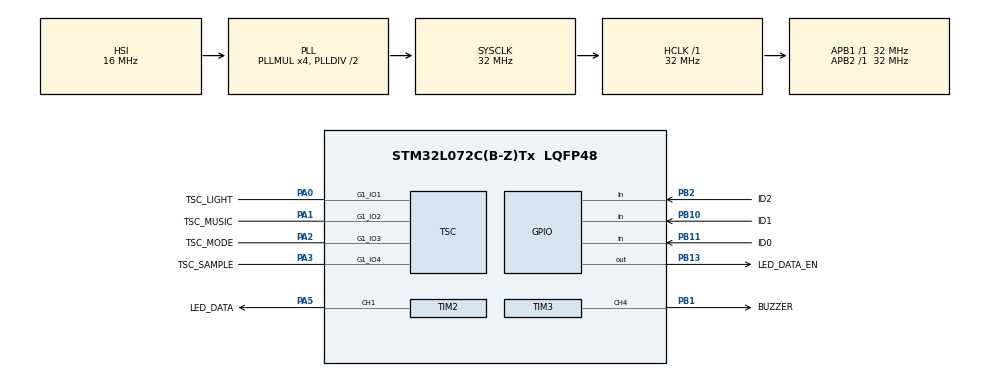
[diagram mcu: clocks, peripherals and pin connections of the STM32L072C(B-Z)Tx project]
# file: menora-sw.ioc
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Dma.Request0=TIM3_CH4/UP
Dma.Request1=TIM2_CH1
Dma.TIM2_CH1.1.Direction=DMA_MEMORY_TO_PERIPH
Dma.TIM2_CH1.1.Instance=DMA1_Channel5
Dma.TIM2_CH1.1.MemDataAlignment=DMA_MDATAALIGN_WORD
Dma.TIM2_CH1.1.MemInc=DMA_MINC_ENABLE
Dma.TIM2_CH1.1.Mode=DMA_NORMAL
Dma.TIM2_CH1.1.PeriphDataAlignment=DMA_PDATAALIGN_WORD
Dma.TIM2_CH1.1.PeriphInc=DMA_PINC_DISABLE
Dma.TIM2_CH1.1.Priority=DMA_PRIORITY_LOW
Dma.TIM3_CH4/UP.0.Direction=DMA_PERIPH_TO_MEMORY
Dma.TIM3_CH4/UP.0.Instance=DMA1_Channel3
Dma.TIM3_CH4/UP.0.MemDataAlignment=DMA_MDATAALIGN_HALFWORD
Dma.TIM3_CH4/UP.0.MemInc=DMA_MINC_ENABLE
Dma.TIM3_CH4/UP.0.Mode=DMA_NORMAL
Dma.TIM3_CH4/UP.0.PeriphDataAlignment=DMA_PDATAALIGN_HALFWORD
Dma.TIM3_CH4/UP.0.PeriphInc=DMA_PINC_DISABLE
Dma.TIM3_CH4/UP.0.Priority=DMA_PRIORITY_LOW
Mcu.Family=STM32L0
Mcu.Name=STM32L072C(B-Z)Tx
Mcu.Package=LQFP48
NVIC.DMA1_Channel2_3_IRQn=true\:0\:0\:false\:false\:true\:false\:true\:true
NVIC.DMA1_Channel4_5_6_7_IRQn=true\:0\:0\:false\:false\:true\:false\:true\:true
NVIC.TIM21_IRQn=true\:0\:0\:false\:false\:true\:true\:true\:true
NVIC.TIM2_IRQn=true\:0\:0\:false\:false\:true\:true\:true\:true
NVIC.TIM3_IRQn=true\:0\:0\:false\:false\:true\:true\:true\:true
NVIC.TSC_IRQn=true\:0\:0\:false\:false\:true\:true\:true\:true
PA0.GPIO_Label=TSC_LIGHT
PA0.Mode=G1_IO1-Channel
PA0.Signal=TSC_G1_IO1
PA1.GPIO_Label=TSC_MUSIC
PA1.Mode=G1_IO2-Channel
PA1.Signal=TSC_G1_IO2
PA13.Mode=Serial_Wire
PA13.Signal=SYS_SWDIO
PA14.Mode=Serial_Wire
PA14.Signal=SYS_SWCLK
PA2.GPIO_Label=TSC_MODE
PA2.Mode=G1_IO3-Channel
PA2.Signal=TSC_G1_IO3
PA3.GPIO_Label=TSC_SAMPLE
PA3.Mode=G1_IO4-Sampling
PA3.Signal=TSC_G1_IO4
PA5.GPIO_Label=LED_DATA
PA5.Signal=S_TIM2_CH1
PB1.GPIO_Label=BUZZER
PB1.Signal=S_TIM3_CH4
PB10.GPIO_Label=ID1
PB10.GPIO_PuPd=GPIO_PULLDOWN
PB10.Signal=GPIO_Input
PB11.GPIO_Label=ID0
PB11.GPIO_PuPd=GPIO_PULLDOWN
PB11.Signal=GPIO_Input
PB13.GPIO_Label=LED_DATA_EN
PB13.Signal=GPIO_Output
PB2.GPIO_Label=ID2
PB2.GPIO_PuPd=GPIO_PULLDOWN
PB2.Signal=GPIO_Input
ProjectManager.HeapSize=0x200
ProjectManager.StackSize=0x400
ProjectManager.TargetToolchain=CMake
RCC.AHBFreq_Value=32000000
RCC.APB1Freq_Value=32000000
RCC.APB1TimFreq_Value=32000000
RCC.APB2Freq_Value=32000000
RCC.APB2TimFreq_Value=32000000
RCC.HCLKFreq_Value=32000000
RCC.HSE_VALUE=8000000
RCC.HSI16_VALUE=16000000
RCC.HSI48_VALUE=48000000
RCC.HSI_VALUE=16000000
RCC.LSE_VALUE=32768
RCC.MSIClockRange=RCC_MSIRANGE_6
RCC.MSI_VALUE=4194000
RCC.PLLMUL=RCC_PLLMUL_4
RCC.SYSCLKFreq_VALUE=32000000
RCC.SYSCLKSource=RCC_SYSCLKSOURCE_PLLCLK
RCC.VCOOutputFreq_Value=64000000
SH.S_TIM2_CH1.0=TIM2_CH1,PWM Generation1 CH1
SH.S_TIM3_CH4.0=TIM3_CH4,PWM Generation4 CH4
TIM2.Channel-PWM\ Generation1\ CH1=TIM_CHANNEL_1
TIM2.Period=39
TIM21.Period=31999
TIM3.Channel-PWM\ Generation4\ CH4=TIM_CHANNEL_4
TIM3.Period=31999
TSC.ChannelIOs-G1_IO1=TSC_GROUP1_IO1
TSC.ChannelIOs-G1_IO1-Channel=TSC_GROUP1_IO1
TSC.ChannelIOs-G1_IO2=TSC_GROUP1_IO2
TSC.ChannelIOs-G1_IO2-Channel=TSC_GROUP1_IO2
TSC.ChannelIOs-G1_IO3=TSC_GROUP1_IO3
TSC.ChannelIOs-G1_IO3-Channel=TSC_GROUP1_IO3
TSC.SamplingIOs-G1_IO4=TSC_GROUP1_IO4
TSC.SamplingIOs-G1_IO4-Sampling=TSC_GROUP1_IO4
VP_TIM21_VS_ClockSourceINT.Mode=Internal
VP_TIM3_VS_ClockSourceINT.Mode=Internal
board=custom

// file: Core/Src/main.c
/* USER CODE BEGIN Header */
/**
  ******************************************************************************
  * @file           : main.c
  * @brief          : Main program body
  ******************************************************************************
  * @attention
  *
  * Copyright (c) 2026 STMicroelectronics.
  * All rights reserved.
  *
  * This software is licensed under terms that can be found in the LICENSE file
  * in the root directory of this software component.
  * If no LICENSE file comes with this software, it is provided AS-IS.
  *
  ******************************************************************************
  */
/* USER CODE END Header */
#include "main.h"

/* USER CODE BEGIN Includes */
#include "menora.h"

/* USER CODE END Includes */

TIM_HandleTypeDef htim2;
TIM_HandleTypeDef htim3;
TIM_HandleTypeDef htim21;
DMA_HandleTypeDef hdma_tim2_ch1;
DMA_HandleTypeDef hdma_tim3_ch4_up;

TSC_HandleTypeDef htsc;

void SystemClock_Config(void);
static void MX_GPIO_Init(void);
static void MX_DMA_Init(void);
static void MX_TIM3_Init(void);
static void MX_TSC_Init(void);
static void MX_TIM2_Init(void);
static void MX_TIM21_Init(void);

int main(void)
{

  /* USER CODE BEGIN 1 */
  MENORA_INIT_CONFIG_st menora_cfg = {
      .scheduler_tim = &htim21,
      .led_tim = &htim2,
      .led_tim_ch = TIM_CHANNEL_1,
      .buzzer_tim = &htim3,
      .led_data_port = LED_DATA_GPIO_Port,
      .led_data_pin = LED_DATA_Pin,
      .led_en_port = LED_DATA_EN_GPIO_Port,
      .led_en_pin = LED_DATA_EN_Pin,
      .id0_port = ID0_GPIO_Port,
      .id0_pin = ID0_Pin,
      .id1_port = ID1_GPIO_Port,
      .id1_pin = ID1_Pin,
      .id2_port = ID2_GPIO_Port,
      .id2_pin = ID2_Pin,
      .light_btn_port = TSC_LIGHT_GPIO_Port,
      .light_btn_pin = TSC_LIGHT_Pin,
      .music_btn_port = TSC_MUSIC_GPIO_Port,
      .music_btn_pin = TSC_MUSIC_Pin,
      .mode_btn_port = TSC_MODE_GPIO_Port,
      .mode_btn_pin = TSC_MODE_Pin,
      .tsc = &htsc,
      .tsc_light_btn_channel_io = TSC_GROUP1_IO1,
      .tsc_music_btn_channel_io = TSC_GROUP1_IO2,
      .tsc_mode_btn_channel_io = TSC_GROUP1_IO3,
      .tsc_btn_group_index = TSC_GROUP1_IDX,
      .tsc_btn_sampling_io = TSC_GROUP1_IO4
  };
  /* USER CODE END 1 */

  /* MCU Configuration--------------------------------------------------------*/

  /* Reset of all peripherals, Initializes the Flash interface and the Systick. */
  HAL_Init();

  /* Configure the system clock */
  SystemClock_Config();

  /* Initialize all configured peripherals */
  MX_GPIO_Init();
  MX_DMA_Init();
  MX_TIM3_Init();
  MX_TSC_Init();
  MX_TIM2_Init();
  MX_TIM21_Init();
  /* USER CODE BEGIN 2 */
  MENORA_init(&menora_cfg);
  /* USER CODE END 2 */

  /* Infinite loop */
  while (1)
  {

    /* USER CODE BEGIN 3 */
    MENORA_process();
  }
  /* USER CODE END 3 */
}

void SystemClock_Config(void)
{
  RCC_OscInitTypeDef RCC_OscInitStruct = {0};
  RCC_ClkInitTypeDef RCC_ClkInitStruct = {0};

  /** Configure the main internal regulator output voltage
  */
  __HAL_PWR_VOLTAGESCALING_CONFIG(PWR_REGULATOR_VOLTAGE_SCALE1);

  /** Initializes the RCC Oscillators according to the specified parameters
  * in the RCC_OscInitTypeDef structure.
  */
  RCC_OscInitStruct.OscillatorType = RCC_OSCILLATORTYPE_HSI;
  RCC_OscInitStruct.HSIState = RCC_HSI_ON;
  RCC_OscInitStruct.HSICalibrationValue = RCC_HSICALIBRATION_DEFAULT;
  RCC_OscInitStruct.PLL.PLLState = RCC_PLL_ON;
  RCC_OscInitStruct.PLL.PLLSource = RCC_PLLSOURCE_HSI;
  RCC_OscInitStruct.PLL.PLLMUL = RCC_PLLMUL_4;
  RCC_OscInitStruct.PLL.PLLDIV = RCC_PLLDIV_2;
  if (HAL_RCC_OscConfig(&RCC_OscInitStruct) != HAL_OK)
  {
    Error_Handler();
  }

  /** Initializes the CPU, AHB and APB buses clocks
  */
  RCC_ClkInitStruct.ClockType = RCC_CLOCKTYPE_HCLK|RCC_CLOCKTYPE_SYSCLK
                              |RCC_CLOCKTYPE_PCLK1|RCC_CLOCKTYPE_PCLK2;
  RCC_ClkInitStruct.SYSCLKSource = RCC_SYSCLKSOURCE_PLLCLK;
  RCC_ClkInitStruct.AHBCLKDivider = RCC_SYSCLK_DIV1;
  RCC_ClkInitStruct.APB1CLKDivider = RCC_HCLK_DIV1;
  RCC_ClkInitStruct.APB2CLKDivider = RCC_HCLK_DIV1;

  if (HAL_RCC_ClockConfig(&RCC_ClkInitStruct, FLASH_LATENCY_1) != HAL_OK)
  {
    Error_Handler();
  }
}

static void MX_TIM2_Init(void)
{

  TIM_MasterConfigTypeDef sMasterConfig = {0};
  TIM_OC_InitTypeDef sConfigOC = {0};

  htim2.Instance = TIM2;
  htim2.Init.Prescaler = 0;
  htim2.Init.CounterMode = TIM_COUNTERMODE_UP;
  htim2.Init.Period = 39;
  htim2.Init.ClockDivision = TIM_CLOCKDIVISION_DIV1;
  htim2.Init.AutoReloadPreload = TIM_AUTORELOAD_PRELOAD_DISABLE;
  if (HAL_TIM_PWM_Init(&htim2) != HAL_OK)
  {
    Error_Handler();
  }
  sMasterConfig.MasterOutputTrigger = TIM_TRGO_RESET;
  sMasterConfig.MasterSlaveMode = TIM_MASTERSLAVEMODE_DISABLE;
  if (HAL_TIMEx_MasterConfigSynchronization(&htim2, &sMasterConfig) != HAL_OK)
  {
    Error_Handler();
  }
  sConfigOC.OCMode = TIM_OCMODE_PWM1;
  sConfigOC.Pulse = 0;
  sConfigOC.OCPolarity = TIM_OCPOLARITY_HIGH;
  sConfigOC.OCFastMode = TIM_OCFAST_DISABLE;
  if (HAL_TIM_PWM_ConfigChannel(&htim2, &sConfigOC, TIM_CHANNEL_1) != HAL_OK)
  {
    Error_Handler();
  }
  HAL_TIM_MspPostInit(&htim2);

}

static void MX_TIM3_Init(void)
{

  TIM_ClockConfigTypeDef sClockSourceConfig = {0};
  TIM_MasterConfigTypeDef sMasterConfig = {0};
  TIM_OC_InitTypeDef sConfigOC = {0};

  htim3.Instance = TIM3;
  htim3.Init.Prescaler = 0;
  htim3.Init.CounterMode = TIM_COUNTERMODE_UP;
  htim3.Init.Period = 31999;
  htim3.Init.ClockDivision = TIM_CLOCKDIVISION_DIV1;
  htim3.Init.AutoReloadPreload = TIM_AUTORELOAD_PRELOAD_DISABLE;
  if (HAL_TIM_Base_Init(&htim3) != HAL_OK)
  {
    Error_Handler();
  }
  sClockSourceConfig.ClockSource = TIM_CLOCKSOURCE_INTERNAL;
  if (HAL_TIM_ConfigClockSource(&htim3, &sClockSourceConfig) != HAL_OK)
  {
    Error_Handler();
  }
  if (HAL_TIM_PWM_Init(&htim3) != HAL_OK)
  {
    Error_Handler();
  }
  sMasterConfig.MasterOutputTrigger = TIM_TRGO_RESET;
  sMasterConfig.MasterSlaveMode = TIM_MASTERSLAVEMODE_DISABLE;
  if (HAL_TIMEx_MasterConfigSynchronization(&htim3, &sMasterConfig) != HAL_OK)
  {
    Error_Handler();
  }
  sConfigOC.OCMode = TIM_OCMODE_PWM1;
  sConfigOC.Pulse = 0;
  sConfigOC.OCPolarity = TIM_OCPOLARITY_HIGH;
  sConfigOC.OCFastMode = TIM_OCFAST_DISABLE;
  if (HAL_TIM_PWM_ConfigChannel(&htim3, &sConfigOC, TIM_CHANNEL_4) != HAL_OK)
  {
    Error_Handler();
  }
  HAL_TIM_MspPostInit(&htim3);

}

static void MX_TIM21_Init(void)
{

  TIM_ClockConfigTypeDef sClockSourceConfig = {0};
  TIM_MasterConfigTypeDef sMasterConfig = {0};

  htim21.Instance = TIM21;
  htim21.Init.Prescaler = 0;
  htim21.Init.CounterMode = TIM_COUNTERMODE_UP;
  htim21.Init.Period = 31999;
  htim21.Init.ClockDivision = TIM_CLOCKDIVISION_DIV1;
  htim21.Init.AutoReloadPreload = TIM_AUTORELOAD_PRELOAD_DISABLE;
  if (HAL_TIM_Base_Init(&htim21) != HAL_OK)
  {
    Error_Handler();
  }
  sClockSourceConfig.ClockSource = TIM_CLOCKSOURCE_INTERNAL;
  if (HAL_TIM_ConfigClockSource(&htim21, &sClockSourceConfig) != HAL_OK)
  {
    Error_Handler();
  }
  sMasterConfig.MasterOutputTrigger = TIM_TRGO_RESET;
  sMasterConfig.MasterSlaveMode = TIM_MASTERSLAVEMODE_DISABLE;
  if (HAL_TIMEx_MasterConfigSynchronization(&htim21, &sMasterConfig) != HAL_OK)
  {
    Error_Handler();
  }

}

static void MX_TSC_Init(void)
{

  /** Configure the TSC peripheral
  */
  htsc.Instance = TSC;
  htsc.Init.CTPulseHighLength = TSC_CTPH_2CYCLES;
  htsc.Init.CTPulseLowLength = TSC_CTPL_2CYCLES;
  htsc.Init.SpreadSpectrum = DISABLE;
  htsc.Init.SpreadSpectrumDeviation = 1;
  htsc.Init.SpreadSpectrumPrescaler = TSC_SS_PRESC_DIV1;
  htsc.Init.PulseGeneratorPrescaler = TSC_PG_PRESC_DIV4;
  htsc.Init.MaxCountValue = TSC_MCV_8191;
  htsc.Init.IODefaultMode = TSC_IODEF_OUT_PP_LOW;
  htsc.Init.SynchroPinPolarity = TSC_SYNC_POLARITY_FALLING;
  htsc.Init.AcquisitionMode = TSC_ACQ_MODE_NORMAL;
  htsc.Init.MaxCountInterrupt = DISABLE;
  htsc.Init.ChannelIOs = TSC_GROUP1_IO1|TSC_GROUP1_IO2|TSC_GROUP1_IO3;
  htsc.Init.ShieldIOs = 0;
  htsc.Init.SamplingIOs = TSC_GROUP1_IO4;
  if (HAL_TSC_Init(&htsc) != HAL_OK)
  {
    Error_Handler();
  }

}

static void MX_DMA_Init(void)
{

  /* DMA controller clock enable */
  __HAL_RCC_DMA1_CLK_ENABLE();

  /* DMA interrupt init */
  /* DMA1_Channel2_3_IRQn interrupt configuration */
  HAL_NVIC_SetPriority(DMA1_Channel2_3_IRQn, 0, 0);
  HAL_NVIC_EnableIRQ(DMA1_Channel2_3_IRQn);
  /* DMA1_Channel4_5_6_7_IRQn interrupt configuration */
  HAL_NVIC_SetPriority(DMA1_Channel4_5_6_7_IRQn, 0, 0);
  HAL_NVIC_EnableIRQ(DMA1_Channel4_5_6_7_IRQn);

}

static void MX_GPIO_Init(void)
{
  GPIO_InitTypeDef GPIO_InitStruct = {0};

  /* GPIO Ports Clock Enable */
  __HAL_RCC_GPIOA_CLK_ENABLE();
  __HAL_RCC_GPIOB_CLK_ENABLE();

  /*Configure GPIO pin Output Level */
  HAL_GPIO_WritePin(LED_DATA_EN_GPIO_Port, LED_DATA_EN_Pin, GPIO_PIN_RESET);

  /*Configure GPIO pins : ID2_Pin ID1_Pin ID0_Pin */
  GPIO_InitStruct.Pin = ID2_Pin|ID1_Pin|ID0_Pin;
  GPIO_InitStruct.Mode = GPIO_MODE_INPUT;
  GPIO_InitStruct.Pull = GPIO_PULLDOWN;
  HAL_GPIO_Init(GPIOB, &GPIO_InitStruct);

  /*Configure GPIO pin : LED_DATA_EN_Pin */
  GPIO_InitStruct.Pin = LED_DATA_EN_Pin;
  GPIO_InitStruct.Mode = GPIO_MODE_OUTPUT_PP;
  GPIO_InitStruct.Pull = GPIO_NOPULL;
  GPIO_InitStruct.Speed = GPIO_SPEED_FREQ_LOW;
  HAL_GPIO_Init(LED_DATA_EN_GPIO_Port, &GPIO_InitStruct);

}

void Error_Handler(void)
{
  __disable_irq();
  while (1)
  {
  }
}
